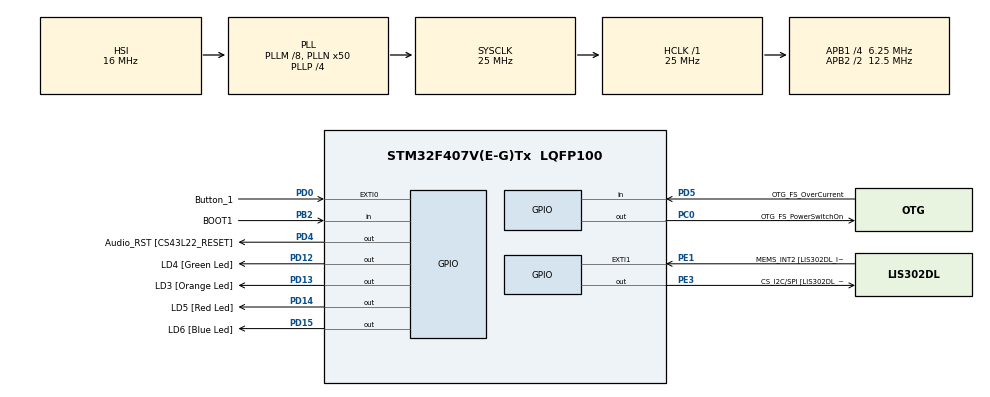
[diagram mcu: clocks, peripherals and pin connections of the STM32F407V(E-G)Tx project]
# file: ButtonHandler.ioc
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Mcu.Family=STM32F4
Mcu.Name=STM32F407V(E-G)Tx
Mcu.Package=LQFP100
NVIC.EXTI0_IRQn=true\:0\:0\:false\:false\:true\:true\:true\:true
NVIC.PriorityGroup=NVIC_PRIORITYGROUP_4
NVIC.TIM6_DAC_IRQn=true\:15\:0\:false\:false\:true\:false\:true\:true
NVIC.TimeBase=TIM6_DAC_IRQn
NVIC.TimeBaseIP=TIM6
PA10.GPIO_Label=OTG_FS_ID
PA10.GPIO_Mode=GPIO_MODE_AF_PP
PA10.GPIO_PuPd=GPIO_NOPULL
PA10.GPIO_Speed=GPIO_SPEED_FREQ_LOW
PA10.Signal=USB_OTG_FS_ID
PA11.GPIO_Label=OTG_FS_DM
PA11.GPIO_Mode=GPIO_MODE_AF_PP
PA11.GPIO_PuPd=GPIO_NOPULL
PA11.GPIO_Speed=GPIO_SPEED_FREQ_LOW
PA11.Signal=USB_OTG_FS_DM
PA12.GPIO_Label=OTG_FS_DP
PA12.GPIO_Mode=GPIO_MODE_AF_PP
PA12.GPIO_PuPd=GPIO_NOPULL
PA12.GPIO_Speed=GPIO_SPEED_FREQ_LOW
PA12.Signal=USB_OTG_FS_DP
PA13.GPIO_Label=SWDIO
PA13.Signal=SYS_JTMS-SWDIO
PA14.GPIO_Label=SWCLK
PA14.Signal=SYS_JTCK-SWCLK
PA4.GPIO_Label=I2S3_WS [CS43L22_LRCK]
PA4.GPIO_Mode=GPIO_MODE_AF_PP
PA4.GPIO_PuPd=GPIO_NOPULL
PA4.GPIO_Speed=GPIO_SPEED_FREQ_LOW
PA4.Signal=I2S3_WS
PA5.GPIO_Label=SPI1_SCK [LIS302DL_SCL/SPC]
PA5.GPIO_Mode=GPIO_MODE_AF_PP
PA5.GPIO_PuPd=GPIO_NOPULL
PA5.GPIO_Speed=GPIO_SPEED_FREQ_LOW
PA5.Signal=SPI1_SCK
PA6.GPIO_Label=SPI1_MISO [LIS302DL_SDO]
PA6.GPIO_Mode=GPIO_MODE_AF_PP
PA6.GPIO_PuPd=GPIO_NOPULL
PA6.GPIO_Speed=GPIO_SPEED_FREQ_LOW
PA6.Signal=SPI1_MISO
PA7.GPIO_Label=SPI1_MOSI [LIS302DL_SDA/SDI/SDO]
PA7.GPIO_Mode=GPIO_MODE_AF_PP
PA7.GPIO_PuPd=GPIO_NOPULL
PA7.GPIO_Speed=GPIO_SPEED_FREQ_LOW
PA7.Signal=SPI1_MOSI
PA9.GPIO_Label=VBUS_FS
PA9.GPIO_Mode=GPIO_MODE_INPUT
PA9.GPIO_PuPd=GPIO_NOPULL
PA9.Signal=USB_OTG_FS_VBUS
PB10.GPIO_Label=CLK_IN [MP45DT02_CLK]
PB10.GPIO_Mode=GPIO_MODE_AF_PP
PB10.GPIO_PuPd=GPIO_NOPULL
PB10.GPIO_Speed=GPIO_SPEED_FREQ_LOW
PB10.Signal=I2S2_CK
PB2.GPIO_Label=BOOT1
PB2.GPIO_Mode=GPIO_MODE_INPUT
PB2.GPIO_PuPd=GPIO_NOPULL
PB2.Signal=GPIO_Input
PB3.GPIO_Label=SWO
PB3.Signal=SYS_JTDO-SWO
PB6.GPIO_Label=Audio_SCL [CS43L22_SCL]
PB6.GPIO_Mode=GPIO_MODE_AF_OD
PB6.GPIO_PuPd=GPIO_NOPULL
PB6.GPIO_Speed=GPIO_SPEED_FREQ_LOW
PB6.Signal=I2C1_SCL
PB9.GPIO_Label=Audio_SDA [CS43L22_SDA]
PB9.GPIO_Mode=GPIO_MODE_AF_OD
PB9.GPIO_PuPd=GPIO_NOPULL
PB9.GPIO_Speed=GPIO_SPEED_FREQ_LOW
PB9.Signal=I2C1_SDA
PC0.GPIO_Label=OTG_FS_PowerSwitchOn
PC0.GPIO_PuPd=GPIO_NOPULL
PC0.GPIO_Speed=GPIO_SPEED_FREQ_LOW
PC0.PinState=GPIO_PIN_SET
PC0.Signal=GPIO_Output
PC10.GPIO_Label=I2S3_SCK [CS43L22_SCLK]
PC10.GPIO_Mode=GPIO_MODE_AF_PP
PC10.GPIO_PuPd=GPIO_NOPULL
PC10.GPIO_Speed=GPIO_SPEED_FREQ_LOW
PC10.Signal=I2S3_CK
PC12.GPIO_Label=I2S3_SD [CS43L22_SDIN]
PC12.GPIO_Mode=GPIO_MODE_AF_PP
PC12.GPIO_PuPd=GPIO_NOPULL
PC12.GPIO_Speed=GPIO_SPEED_FREQ_LOW
PC12.Signal=I2S3_SD
PC14-OSC32_IN.GPIO_Label=PC14-OSC32_IN
PC14-OSC32_IN.Signal=RCC_OSC32_IN
PC15-OSC32_OUT.GPIO_Label=PC15-OSC32_OUT
PC15-OSC32_OUT.Signal=RCC_OSC32_OUT
PC3.GPIO_Label=PDM_OUT [MP45DT02_DOUT]
PC3.GPIO_Mode=GPIO_MODE_AF_PP
PC3.GPIO_PuPd=GPIO_NOPULL
PC3.GPIO_Speed=GPIO_SPEED_FREQ_LOW
PC3.Signal=I2S2_SD
PC7.GPIO_Label=I2S3_MCK [CS43L22_MCLK]
PC7.GPIO_Mode=GPIO_MODE_AF_PP
PC7.GPIO_PuPd=GPIO_NOPULL
PC7.GPIO_Speed=GPIO_SPEED_FREQ_LOW
PC7.Signal=I2S3_MCK
PD0.GPIO_Label=Button_1
PD0.Signal=GPXTI0
PD12.GPIO_Label=LD4 [Green Led]
PD12.GPIO_PuPd=GPIO_NOPULL
PD12.GPIO_Speed=GPIO_SPEED_FREQ_LOW
PD12.Signal=GPIO_Output
PD13.GPIO_Label=LD3 [Orange Led]
PD13.GPIO_PuPd=GPIO_NOPULL
PD13.GPIO_Speed=GPIO_SPEED_FREQ_LOW
PD13.Signal=GPIO_Output
PD14.GPIO_Label=LD5 [Red Led]
PD14.GPIO_PuPd=GPIO_NOPULL
PD14.GPIO_Speed=GPIO_SPEED_FREQ_LOW
PD14.Signal=GPIO_Output
PD15.GPIO_Label=LD6 [Blue Led]
PD15.GPIO_PuPd=GPIO_NOPULL
PD15.GPIO_Speed=GPIO_SPEED_FREQ_LOW
PD15.Signal=GPIO_Output
PD4.GPIO_Label=Audio_RST [CS43L22_RESET]
PD4.GPIO_PuPd=GPIO_NOPULL
PD4.GPIO_Speed=GPIO_SPEED_FREQ_LOW
PD4.Signal=GPIO_Output
PD5.GPIO_Label=OTG_FS_OverCurrent
PD5.GPIO_Mode=GPIO_MODE_INPUT
PD5.GPIO_PuPd=GPIO_NOPULL
PD5.Signal=GPIO_Input
PE1.GPIO_Label=MEMS_INT2 [LIS302DL_INT2]
PE1.GPIO_ModeDefaultEXTI=GPIO_MODE_EVT_RISING
PE1.GPIO_PuPd=GPIO_NOPULL
PE1.Signal=GPXTI1
PE3.GPIO_Label=CS_I2C/SPI [LIS302DL_CS_I2C/SPI]
PE3.GPIO_PuPd=GPIO_NOPULL
PE3.GPIO_Speed=GPIO_SPEED_FREQ_LOW
PE3.Signal=GPIO_Output
PH0-OSC_IN.GPIO_Label=PH0-OSC_IN
PH0-OSC_IN.Signal=RCC_OSC_IN
PH1-OSC_OUT.GPIO_Label=PH1-OSC_OUT
PH1-OSC_OUT.Signal=RCC_OSC_OUT
ProjectManager.HeapSize=0x200
ProjectManager.StackSize=0x400
ProjectManager.TargetToolchain=STM32CubeIDE
RCC.48MHZClocksFreq_Value=14285714.285714285
RCC.AHBFreq_Value=25000000
RCC.APB1CLKDivider=RCC_HCLK_DIV4
RCC.APB1Freq_Value=6250000
RCC.APB1TimFreq_Value=12500000
RCC.APB2CLKDivider=RCC_HCLK_DIV2
RCC.APB2Freq_Value=12500000
RCC.APB2TimFreq_Value=25000000
RCC.CortexFreq_Value=25000000
RCC.HCLKFreq_Value=25000000
RCC.HSE_VALUE=8000000
RCC.HSI_VALUE=16000000
RCC.LSE_VALUE=32768
RCC.PLLM=8
RCC.PLLN=50
RCC.PLLP=RCC_PLLP_DIV4
RCC.PLLQ=7
RCC.SYSCLKFreq_VALUE=25000000
RCC.SYSCLKSource=RCC_SYSCLKSOURCE_PLLCLK
RCC.VCOOutputFreq_Value=100000000
VP_SYS_VS_tim6.Mode=TIM6
board=STM32F407G-DISC1

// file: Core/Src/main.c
/* USER CODE BEGIN Header */
/**
  ******************************************************************************
  * @file           : main.c
  * @brief          : Main program body
  ******************************************************************************
  * @attention
  *
  * Copyright (c) 2026 STMicroelectronics.
  * All rights reserved.
  *
  * This software is licensed under terms that can be found in the LICENSE file
  * in the root directory of this software component.
  * If no LICENSE file comes with this software, it is provided AS-IS.
  *
  ******************************************************************************
  */
/* USER CODE END Header */
#include "main.h"

/* USER CODE BEGIN Includes */
#include "FreeRTOS.h"
#include "task.h"
#include "queue.h"
/* USER CODE END Includes */

/* USER CODE BEGIN PTD */

/*Button event */
typedef enum {
	BTN_EVT_PRESSED = 1,
} ButtonEvent_t;

static QueueHandle_t  xButtonQueue;
#define DEBOUNCE_MS   200
/* USER CODE END PTD */

void SystemClock_Config(void);
static void MX_GPIO_Init(void);
/* USER CODE BEGIN PFP */
static void task1_handler(void * parameter);
static void task2_handler(void * parameter);
/* USER CODE END PFP */

/* USER CODE BEGIN 0 */
void LedTask(void *argument)
{
    ButtonEvent_t evt;
    uint16_t leds[4] = {LD4_Pin, LD3_Pin, LD5_Pin, LD6_Pin};
    uint8_t idx = 0;

    for (;;)
    {
        if (xQueueReceive(xButtonQueue, &evt, portMAX_DELAY) == pdTRUE)
        {
            if (evt == BTN_EVT_PRESSED)
            {
                HAL_GPIO_TogglePin(GPIOD, leds[idx]);
                idx = (idx + 1) % 4;
            }
        }
    }
}
/* USER CODE END 0 */

int main(void)
{

  /* USER CODE BEGIN 1 */

	TaskHandle_t task1_handle;
	TaskHandle_t task2_handle;

	BaseType_t status;

  /* USER CODE END 1 */

  /* MCU Configuration--------------------------------------------------------*/

  /* Reset of all peripherals, Initializes the Flash interface and the Systick. */
  HAL_Init();

  /* Configure the system clock */
  SystemClock_Config();

  /* Initialize all configured peripherals */
	MX_GPIO_Init();
	/* USER CODE BEGIN 2 */
	status = xTaskCreate(task1_handler, "Task-1", 200,
			"Hello world from Task-1", 2, &task1_handle);
	configASSERT(status == pdPASS);

	status = xTaskCreate(task2_handler, "Task-2", 200,
			"Hello world from Task-2", 2, &task2_handle);
	configASSERT(status == pdPASS);

	xButtonQueue = xQueueCreate(10, sizeof(ButtonEvent_t));
	configASSERT(xButtonQueue != NULL);

	xTaskCreate(LedTask, "LedTask", 128, NULL, 2, NULL);

	vTaskStartScheduler();

	for (;;) {}

  /* USER CODE END 2 */

  /* Infinite loop */
  while (1)
  {

  }
}

void SystemClock_Config(void)
{
  RCC_OscInitTypeDef RCC_OscInitStruct = {0};
  RCC_ClkInitTypeDef RCC_ClkInitStruct = {0};

  /** Configure the main internal regulator output voltage
  */
  __HAL_RCC_PWR_CLK_ENABLE();
  __HAL_PWR_VOLTAGESCALING_CONFIG(PWR_REGULATOR_VOLTAGE_SCALE1);

  /** Initializes the RCC Oscillators according to the specified parameters
  * in the RCC_OscInitTypeDef structure.
  */
  RCC_OscInitStruct.OscillatorType = RCC_OSCILLATORTYPE_HSI;
  RCC_OscInitStruct.HSIState = RCC_HSI_ON;
  RCC_OscInitStruct.HSICalibrationValue = RCC_HSICALIBRATION_DEFAULT;
  RCC_OscInitStruct.PLL.PLLState = RCC_PLL_ON;
  RCC_OscInitStruct.PLL.PLLSource = RCC_PLLSOURCE_HSI;
  RCC_OscInitStruct.PLL.PLLM = 8;
  RCC_OscInitStruct.PLL.PLLN = 50;
  RCC_OscInitStruct.PLL.PLLP = RCC_PLLP_DIV4;
  RCC_OscInitStruct.PLL.PLLQ = 7;
  if (HAL_RCC_OscConfig(&RCC_OscInitStruct) != HAL_OK)
  {
    Error_Handler();
  }

  /** Initializes the CPU, AHB and APB buses clocks
  */
  RCC_ClkInitStruct.ClockType = RCC_CLOCKTYPE_HCLK|RCC_CLOCKTYPE_SYSCLK
                              |RCC_CLOCKTYPE_PCLK1|RCC_CLOCKTYPE_PCLK2;
  RCC_ClkInitStruct.SYSCLKSource = RCC_SYSCLKSOURCE_PLLCLK;
  RCC_ClkInitStruct.AHBCLKDivider = RCC_SYSCLK_DIV1;
  RCC_ClkInitStruct.APB1CLKDivider = RCC_HCLK_DIV4;
  RCC_ClkInitStruct.APB2CLKDivider = RCC_HCLK_DIV2;

  if (HAL_RCC_ClockConfig(&RCC_ClkInitStruct, FLASH_LATENCY_0) != HAL_OK)
  {
    Error_Handler();
  }
}

static void MX_GPIO_Init(void)
{
  GPIO_InitTypeDef GPIO_InitStruct = {0};

  /* GPIO Ports Clock Enable */
  __HAL_RCC_GPIOE_CLK_ENABLE();
  __HAL_RCC_GPIOC_CLK_ENABLE();
  __HAL_RCC_GPIOH_CLK_ENABLE();
  __HAL_RCC_GPIOA_CLK_ENABLE();
  __HAL_RCC_GPIOB_CLK_ENABLE();
  __HAL_RCC_GPIOD_CLK_ENABLE();

  /*Configure GPIO pin Output Level */
  HAL_GPIO_WritePin(CS_I2C_SPI_GPIO_Port, CS_I2C_SPI_Pin, GPIO_PIN_RESET);

  /*Configure GPIO pin Output Level */
  HAL_GPIO_WritePin(OTG_FS_PowerSwitchOn_GPIO_Port, OTG_FS_PowerSwitchOn_Pin, GPIO_PIN_SET);

  /*Configure GPIO pin Output Level */
  HAL_GPIO_WritePin(GPIOD, LD4_Pin|LD3_Pin|LD5_Pin|LD6_Pin
                          |Audio_RST_Pin, GPIO_PIN_RESET);

  /*Configure GPIO pin : CS_I2C_SPI_Pin */
  GPIO_InitStruct.Pin = CS_I2C_SPI_Pin;
  GPIO_InitStruct.Mode = GPIO_MODE_OUTPUT_PP;
  GPIO_InitStruct.Pull = GPIO_NOPULL;
  GPIO_InitStruct.Speed = GPIO_SPEED_FREQ_LOW;
  HAL_GPIO_Init(CS_I2C_SPI_GPIO_Port, &GPIO_InitStruct);

  /*Configure GPIO pin : OTG_FS_PowerSwitchOn_Pin */
  GPIO_InitStruct.Pin = OTG_FS_PowerSwitchOn_Pin;
  GPIO_InitStruct.Mode = GPIO_MODE_OUTPUT_PP;
  GPIO_InitStruct.Pull = GPIO_NOPULL;
  GPIO_InitStruct.Speed = GPIO_SPEED_FREQ_LOW;
  HAL_GPIO_Init(OTG_FS_PowerSwitchOn_GPIO_Port, &GPIO_InitStruct);

  /*Configure GPIO pin : PDM_OUT_Pin */
  GPIO_InitStruct.Pin = PDM_OUT_Pin;
  GPIO_InitStruct.Mode = GPIO_MODE_AF_PP;
  GPIO_InitStruct.Pull = GPIO_NOPULL;
  GPIO_InitStruct.Speed = GPIO_SPEED_FREQ_LOW;
  GPIO_InitStruct.Alternate = GPIO_AF5_SPI2;
  HAL_GPIO_Init(PDM_OUT_GPIO_Port, &GPIO_InitStruct);

  /*Configure GPIO pin : I2S3_WS_Pin */
  GPIO_InitStruct.Pin = I2S3_WS_Pin;
  GPIO_InitStruct.Mode = GPIO_MODE_AF_PP;
  GPIO_InitStruct.Pull = GPIO_NOPULL;
  GPIO_InitStruct.Speed = GPIO_SPEED_FREQ_LOW;
  GPIO_InitStruct.Alternate = GPIO_AF6_SPI3;
  HAL_GPIO_Init(I2S3_WS_GPIO_Port, &GPIO_InitStruct);

  /*Configure GPIO pins : SPI1_SCK_Pin SPI1_MISO_Pin SPI1_MOSI_Pin */
  GPIO_InitStruct.Pin = SPI1_SCK_Pin|SPI1_MISO_Pin|SPI1_MOSI_Pin;
  GPIO_InitStruct.Mode = GPIO_MODE_AF_PP;
  GPIO_InitStruct.Pull = GPIO_NOPULL;
  GPIO_InitStruct.Speed = GPIO_SPEED_FREQ_LOW;
  GPIO_InitStruct.Alternate = GPIO_AF5_SPI1;
  HAL_GPIO_Init(GPIOA, &GPIO_InitStruct);

  /*Configure GPIO pin : BOOT1_Pin */
  GPIO_InitStruct.Pin = BOOT1_Pin;
  GPIO_InitStruct.Mode = GPIO_MODE_INPUT;
  GPIO_InitStruct.Pull = GPIO_NOPULL;
  HAL_GPIO_Init(BOOT1_GPIO_Port, &GPIO_InitStruct);

  /*Configure GPIO pin : CLK_IN_Pin */
  GPIO_InitStruct.Pin = CLK_IN_Pin;
  GPIO_InitStruct.Mode = GPIO_MODE_AF_PP;
  GPIO_InitStruct.Pull = GPIO_NOPULL;
  GPIO_InitStruct.Speed = GPIO_SPEED_FREQ_LOW;
  GPIO_InitStruct.Alternate = GPIO_AF5_SPI2;
  HAL_GPIO_Init(CLK_IN_GPIO_Port, &GPIO_InitStruct);

  /*Configure GPIO pins : LD4_Pin LD3_Pin LD5_Pin LD6_Pin
                           Audio_RST_Pin */
  GPIO_InitStruct.Pin = LD4_Pin|LD3_Pin|LD5_Pin|LD6_Pin
                          |Audio_RST_Pin;
  GPIO_InitStruct.Mode = GPIO_MODE_OUTPUT_PP;
  GPIO_InitStruct.Pull = GPIO_NOPULL;
  GPIO_InitStruct.Speed = GPIO_SPEED_FREQ_LOW;
  HAL_GPIO_Init(GPIOD, &GPIO_InitStruct);

  /*Configure GPIO pins : I2S3_MCK_Pin I2S3_SCK_Pin I2S3_SD_Pin */
  GPIO_InitStruct.Pin = I2S3_MCK_Pin|I2S3_SCK_Pin|I2S3_SD_Pin;
  GPIO_InitStruct.Mode = GPIO_MODE_AF_PP;
  GPIO_InitStruct.Pull = GPIO_NOPULL;
  GPIO_InitStruct.Speed = GPIO_SPEED_FREQ_LOW;
  GPIO_InitStruct.Alternate = GPIO_AF6_SPI3;
  HAL_GPIO_Init(GPIOC, &GPIO_InitStruct);

  /*Configure GPIO pin : VBUS_FS_Pin */
  GPIO_InitStruct.Pin = VBUS_FS_Pin;
  GPIO_InitStruct.Mode = GPIO_MODE_INPUT;
  GPIO_InitStruct.Pull = GPIO_NOPULL;
  HAL_GPIO_Init(VBUS_FS_GPIO_Port, &GPIO_InitStruct);

  /*Configure GPIO pins : OTG_FS_ID_Pin OTG_FS_DM_Pin OTG_FS_DP_Pin */
  GPIO_InitStruct.Pin = OTG_FS_ID_Pin|OTG_FS_DM_Pin|OTG_FS_DP_Pin;
  GPIO_InitStruct.Mode = GPIO_MODE_AF_PP;
  GPIO_InitStruct.Pull = GPIO_NOPULL;
  GPIO_InitStruct.Speed = GPIO_SPEED_FREQ_LOW;
  GPIO_InitStruct.Alternate = GPIO_AF10_OTG_FS;
  HAL_GPIO_Init(GPIOA, &GPIO_InitStruct);

  /*Configure GPIO pin : Button_1_Pin */
  GPIO_InitStruct.Pin = Button_1_Pin;
  GPIO_InitStruct.Mode = GPIO_MODE_IT_RISING;
  GPIO_InitStruct.Pull = GPIO_NOPULL;
  HAL_GPIO_Init(Button_1_GPIO_Port, &GPIO_InitStruct);

  /*Configure GPIO pin : OTG_FS_OverCurrent_Pin */
  GPIO_InitStruct.Pin = OTG_FS_OverCurrent_Pin;
  GPIO_InitStruct.Mode = GPIO_MODE_INPUT;
  GPIO_InitStruct.Pull = GPIO_NOPULL;
  HAL_GPIO_Init(OTG_FS_OverCurrent_GPIO_Port, &GPIO_InitStruct);

  /*Configure GPIO pins : Audio_SCL_Pin Audio_SDA_Pin */
  GPIO_InitStruct.Pin = Audio_SCL_Pin|Audio_SDA_Pin;
  GPIO_InitStruct.Mode = GPIO_MODE_AF_OD;
  GPIO_InitStruct.Pull = GPIO_NOPULL;
  GPIO_InitStruct.Speed = GPIO_SPEED_FREQ_LOW;
  GPIO_InitStruct.Alternate = GPIO_AF4_I2C1;
  HAL_GPIO_Init(GPIOB, &GPIO_InitStruct);

  /*Configure GPIO pin : MEMS_INT2_Pin */
  GPIO_InitStruct.Pin = MEMS_INT2_Pin;
  GPIO_InitStruct.Mode = GPIO_MODE_EVT_RISING;
  GPIO_InitStruct.Pull = GPIO_NOPULL;
  HAL_GPIO_Init(MEMS_INT2_GPIO_Port, &GPIO_InitStruct);

  /* EXTI interrupt init*/
  HAL_NVIC_SetPriority(EXTI0_IRQn, 5, 0);
  HAL_NVIC_EnableIRQ(EXTI0_IRQn);

}

/* USER CODE BEGIN 4 */

static void task1_handler(void * parameters)
{
	while(1)
	{
		printf("%s\n", (char*)parameters);
		taskYIELD();
	}
}

static void task2_handler(void * parameters)
{
	while(1)
	{
		printf("%s\n", (char*)parameters);
		taskYIELD();
	}
}
/* USER CODE END 4 */

static uint32_t lastPressTick = 0;
void HAL_GPIO_EXTI_Callback(uint16_t GPIO_Pin) {
	if (GPIO_Pin == GPIO_PIN_0) {
		uint32_t now = xTaskGetTickCountFromISR();
		if ((now - lastPressTick) < pdMS_TO_TICKS(DEBOUNCE_MS)) {
			return;
		}
		lastPressTick = now;

		ButtonEvent_t evt = BTN_EVT_PRESSED;
		BaseType_t xHigherPriorityTaskWoken = pdFALSE;

		xQueueSendFromISR(xButtonQueue, &evt, &xHigherPriorityTaskWoken);
		portYIELD_FROM_ISR(xHigherPriorityTaskWoken);
	}
}

void HAL_TIM_PeriodElapsedCallback(TIM_HandleTypeDef *htim)
{
  if (htim->Instance == TIM6)
  {
    HAL_IncTick();
  }
}

void Error_Handler(void)
{
  __disable_irq();
  while (1)
  {
  }
}
